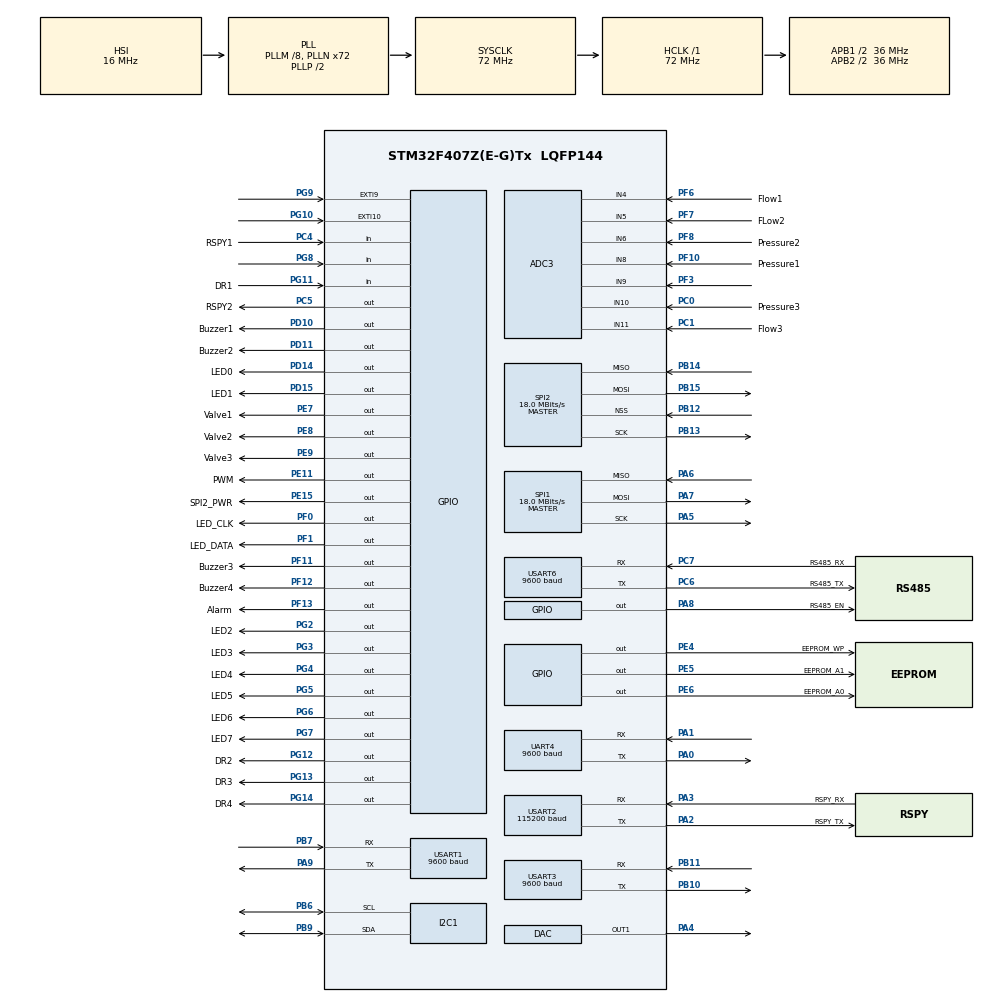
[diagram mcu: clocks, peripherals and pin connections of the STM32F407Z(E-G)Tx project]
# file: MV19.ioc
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ADC3.Channel-7\#ChannelRegularConversion=ADC_CHANNEL_4
ADC3.ClockPrescaler=ADC_CLOCK_SYNC_PCLK_DIV8
ADC3.ContinuousConvMode=DISABLE
ADC3.InjNumberOfConversion=0
ADC3.NbrOfConversionFlag=1
ADC3.Rank-7\#ChannelRegularConversion=1
ADC3.SamplingTime-7\#ChannelRegularConversion=ADC_SAMPLETIME_3CYCLES
ADC3.ScanConvMode=DISABLE
Mcu.Family=STM32F4
Mcu.Name=STM32F407Z(E-G)Tx
Mcu.Package=LQFP144
NVIC.EXTI15_10_IRQn=true\:1\:0\:true\:false\:true\:true\:true
NVIC.EXTI9_5_IRQn=true\:1\:0\:true\:false\:true\:true\:true
NVIC.PriorityGroup=NVIC_PRIORITYGROUP_4
NVIC.TIM1_UP_TIM10_IRQn=true\:1\:0\:true\:false\:true\:true\:true
NVIC.TIM2_IRQn=true\:1\:0\:true\:false\:true\:true\:true
NVIC.TIM3_IRQn=true\:1\:0\:true\:false\:true\:true\:true
NVIC.TIM4_IRQn=true\:1\:0\:true\:false\:true\:true\:true
NVIC.TIM8_BRK_TIM12_IRQn=true\:1\:0\:true\:false\:true\:true\:true
NVIC.USART2_IRQn=true\:0\:0\:false\:false\:true\:true\:true
PA0-WKUP.Mode=Asynchronous
PA0-WKUP.Signal=UART4_TX
PA1.Mode=Asynchronous
PA1.Signal=UART4_RX
PA13.Mode=JTAG_4_pins
PA13.Signal=SYS_JTMS-SWDIO
PA14.Mode=JTAG_4_pins
PA14.Signal=SYS_JTCK-SWCLK
PA15.Mode=JTAG_4_pins
PA15.Signal=SYS_JTDI
PA2.GPIO_Label=RSPY_TX
PA2.Mode=Asynchronous
PA2.Signal=USART2_TX
PA3.GPIO_Label=RSPY_RX
PA3.Mode=Asynchronous
PA3.Signal=USART2_RX
PA4.Signal=COMP_DAC1_group
PA5.Mode=Full_Duplex_Master
PA5.Signal=SPI1_SCK
PA6.Mode=Full_Duplex_Master
PA6.Signal=SPI1_MISO
PA7.Mode=Full_Duplex_Master
PA7.Signal=SPI1_MOSI
PA8.GPIO_Label=RS485_EN
PA8.Signal=GPIO_Output
PA9.Mode=Asynchronous
PA9.Signal=USART1_TX
PB10.Mode=Asynchronous
PB10.Signal=USART3_TX
PB11.Mode=Asynchronous
PB11.Signal=USART3_RX
PB12.Mode=NSS_Signal_Hard_Input
PB12.Signal=SPI2_NSS
PB13.Mode=Full_Duplex_Master
PB13.Signal=SPI2_SCK
PB14.Mode=Full_Duplex_Master
PB14.Signal=SPI2_MISO
PB15.Mode=Full_Duplex_Master
PB15.Signal=SPI2_MOSI
PB3.Mode=JTAG_4_pins
PB3.Signal=SYS_JTDO-SWO
PB6.Mode=I2C
PB6.Signal=I2C1_SCL
PB7.Mode=Asynchronous
PB7.Signal=USART1_RX
PB9.Mode=I2C
PB9.Signal=I2C1_SDA
PC0.GPIO_Label=Pressure3
PC0.Signal=ADCx_IN10
PC1.GPIO_Label=Flow3
PC1.Signal=ADCx_IN11
PC4.GPIO_Label=RSPY1
PC4.Signal=GPIO_Input
PC5.GPIO_Label=RSPY2
PC5.Signal=GPIO_Output
PC6.GPIO_Label=RS485_TX
PC6.Mode=Asynchronous
PC6.Signal=USART6_TX
PC7.GPIO_Label=RS485_RX
PC7.Mode=Asynchronous
PC7.Signal=USART6_RX
PD10.GPIO_Label=Buzzer1
PD10.Signal=GPIO_Output
PD11.GPIO_Label=Buzzer2
PD11.Signal=GPIO_Output
PD14.GPIO_Label=LED0
PD14.Signal=GPIO_Output
PD15.GPIO_Label=LED1
PD15.Signal=GPIO_Output
PE11.GPIO_Label=PWM
PE11.Signal=GPIO_Output
PE15.GPIO_Label=SPI2_PWR
PE15.Signal=GPIO_Output
PE4.GPIO_Label=EEPROM_WP
PE4.Signal=GPIO_Output
PE5.GPIO_Label=EEPROM_A1
PE5.Signal=GPIO_Output
PE6.GPIO_Label=EEPROM_A0
PE6.Signal=GPIO_Output
PE7.GPIO_Label=Valve1
PE7.Signal=GPIO_Output
PE8.GPIO_Label=Valve2
PE8.Signal=GPIO_Output
PE9.GPIO_Label=Valve3
PE9.Signal=GPIO_Output
PF0.GPIO_Label=LED_CLK
PF0.Signal=GPIO_Output
PF1.GPIO_Label=LED_DATA
PF1.Signal=GPIO_Output
PF10.GPIO_Label=Pressure1
PF10.Mode=IN8
PF10.Signal=ADC3_IN8
PF11.GPIO_Label=Buzzer3
PF11.Signal=GPIO_Output
PF12.GPIO_Label=Buzzer4
PF12.Signal=GPIO_Output
PF13.GPIO_Label=Alarm
PF13.Signal=GPIO_Output
PF3.Mode=IN9
PF3.Signal=ADC3_IN9
PF6.GPIO_Label=Flow1
PF6.Mode=IN4
PF6.Signal=ADC3_IN4
PF7.GPIO_Label=FLow2
PF7.Mode=IN5
PF7.Signal=ADC3_IN5
PF8.GPIO_Label=Pressure2
PF8.Mode=IN6
PF8.Signal=ADC3_IN6
PG10.GPIO_ModeDefaultEXTI=GPIO_MODE_IT_RISING
PG10.Signal=GPXTI10
PG11.GPIO_Label=DR1
PG11.Signal=GPIO_Input
PG12.GPIO_Label=DR2
PG12.Signal=GPIO_Output
PG13.GPIO_Label=DR3
PG13.GPIO_ModeDefaultOutputPP=GPIO_MODE_OUTPUT_PP
PG13.GPIO_PuPd=GPIO_PULLUP
PG13.GPIO_Speed=GPIO_SPEED_FREQ_VERY_HIGH
PG13.Signal=GPIO_Output
PG14.GPIO_Label=DR4
PG14.GPIO_PuPd=GPIO_PULLUP
PG14.Signal=GPIO_Output
PG2.GPIO_Label=LED2
PG2.Signal=GPIO_Output
PG3.GPIO_Label=LED3
PG3.Signal=GPIO_Output
PG4.GPIO_Label=LED4
PG4.Signal=GPIO_Output
PG5.GPIO_Label=LED5
PG5.Signal=GPIO_Output
PG6.GPIO_Label=LED6
PG6.Signal=GPIO_Output
PG7.GPIO_Label=LED7
PG7.Signal=GPIO_Output
PG8.Signal=GPIO_Input
PG9.GPIO_ModeDefaultEXTI=GPIO_MODE_IT_FALLING
PG9.GPIO_PuPd=GPIO_NOPULL
PG9.Signal=GPXTI9
ProjectManager.HeapSize=0x200
ProjectManager.StackSize=0x400
ProjectManager.TargetToolchain=MDK-ARM V5.27
RCC.48MHZClocksFreq_Value=48000000
RCC.AHBFreq_Value=72000000
RCC.APB1CLKDivider=RCC_HCLK_DIV2
RCC.APB1Freq_Value=36000000
RCC.APB1TimFreq_Value=72000000
RCC.APB2CLKDivider=RCC_HCLK_DIV2
RCC.APB2Freq_Value=36000000
RCC.APB2TimFreq_Value=72000000
RCC.CortexFreq_Value=72000000
RCC.HCLKFreq_Value=72000000
RCC.HSE_VALUE=8000000
RCC.HSI_VALUE=16000000
RCC.LSE_VALUE=32768
RCC.PLLM=8
RCC.PLLN=72
RCC.PLLQ=3
RCC.SYSCLKFreq_VALUE=72000000
RCC.SYSCLKSource=RCC_SYSCLKSOURCE_PLLCLK
RCC.VCOOutputFreq_Value=144000000
SH.ADCx_IN10.0=ADC3_IN10,IN10
SH.ADCx_IN11.0=ADC3_IN11,IN11
SH.COMP_DAC1_group.0=DAC_OUT1,DAC_OUT1
SPI1.CalculateBaudRate=18.0 MBits/s
SPI1.Direction=SPI_DIRECTION_2LINES
SPI1.Mode=SPI_MODE_MASTER
SPI1.VirtualType=VM_MASTER
SPI2.CalculateBaudRate=18.0 MBits/s
SPI2.Direction=SPI_DIRECTION_2LINES
SPI2.Mode=SPI_MODE_MASTER
SPI2.VirtualNSS=VM_NSSHARD
SPI2.VirtualType=VM_MASTER
TIM1.AutoReloadPreload=TIM_AUTORELOAD_PRELOAD_DISABLE
TIM1.Period=50
TIM1.Prescaler=400
TIM1.TIM_MasterOutputTrigger=TIM_TRGO_UPDATE
TIM12.Period=1000
TIM12.Prescaler=7200
TIM2.Period=100
TIM2.Prescaler=7135
TIM2.TIM_MasterOutputTrigger=TIM_TRGO_UPDATE
TIM3.Period=100
TIM3.Prescaler=7135
TIM3.TIM_MasterOutputTrigger=TIM_TRGO_UPDATE
TIM4.Period=10
TIM4.Prescaler=7200
TIM4.TIM_MasterOutputTrigger=TIM_TRGO_UPDATE
UART4.BaudRate=9600
UART4.VirtualMode=Asynchronous
USART1.BaudRate=9600
USART1.VirtualMode=VM_ASYNC
USART2.BaudRate=115200
USART2.VirtualMode=VM_ASYNC
USART3.BaudRate=9600
USART3.VirtualMode=VM_ASYNC
USART6.BaudRate=9600
USART6.VirtualMode=VM_ASYNC
VP_TIM12_VS_ClockSourceINT.Mode=Internal
VP_TIM1_VS_ClockSourceINT.Mode=Internal
VP_TIM2_VS_ClockSourceINT.Mode=Internal
VP_TIM3_VS_ClockSourceINT.Mode=Internal
VP_TIM4_VS_ClockSourceINT.Mode=Internal
board=custom

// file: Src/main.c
/* USER CODE BEGIN Header */
/**
  ******************************************************************************
  * @file           : main.c
  * @brief          : Main program body
  ******************************************************************************
  * @attention
  *
  * <h2><center>&copy; Copyright (c) 2020 STMicroelectronics.
  * All rights reserved.</center></h2>
  *
  * This software component is licensed by ST under BSD 3-Clause license,
  * the "License"; You may not use this file except in compliance with the
  * License. You may obtain a copy of the License at:
  *                        opensource.org/licenses/BSD-3-Clause
  *
  ******************************************************************************
  */
  /* USER CODE END Header */

  /* Includes ------------------------------------------------------------------*/
#include "main.h"

/* USER CODE BEGIN Includes */
#include <string.h>
#include <stdbool.h>
#include <stdio.h>
#include "show_alarms.h"

/* USER CODE END Includes */

/* USER CODE BEGIN PD */

#define MAX_BUFFER_SIZE 500

const unsigned  int CrcTable[] = {
  0X0000, 0XC0C1, 0XC181, 0X0140, 0XC301, 0X03C0, 0X0280, 0XC241,
  0XC601, 0X06C0, 0X0780, 0XC741, 0X0500, 0XC5C1, 0XC481, 0X0440,
  0XCC01, 0X0CC0, 0X0D80, 0XCD41, 0X0F00, 0XCFC1, 0XCE81, 0X0E40,
  0X0A00, 0XCAC1, 0XCB81, 0X0B40, 0XC901, 0X09C0, 0X0880, 0XC841,
  0XD801, 0X18C0, 0X1980, 0XD941, 0X1B00, 0XDBC1, 0XDA81, 0X1A40,
  0X1E00, 0XDEC1, 0XDF81, 0X1F40, 0XDD01, 0X1DC0, 0X1C80, 0XDC41,
  0X1400, 0XD4C1, 0XD581, 0X1540, 0XD701, 0X17C0, 0X1680, 0XD641,
  0XD201, 0X12C0, 0X1380, 0XD341, 0X1100, 0XD1C1, 0XD081, 0X1040,
  0XF001, 0X30C0, 0X3180, 0XF141, 0X3300, 0XF3C1, 0XF281, 0X3240,
  0X3600, 0XF6C1, 0XF781, 0X3740, 0XF501, 0X35C0, 0X3480, 0XF441,
  0X3C00, 0XFCC1, 0XFD81, 0X3D40, 0XFF01, 0X3FC0, 0X3E80, 0XFE41,
  0XFA01, 0X3AC0, 0X3B80, 0XFB41, 0X3900, 0XF9C1, 0XF881, 0X3840,
  0X2800, 0XE8C1, 0XE981, 0X2940, 0XEB01, 0X2BC0, 0X2A80, 0XEA41,
  0XEE01, 0X2EC0, 0X2F80, 0XEF41, 0X2D00, 0XEDC1, 0XEC81, 0X2C40,
  0XE401, 0X24C0, 0X2580, 0XE541, 0X2700, 0XE7C1, 0XE681, 0X2640,
  0X2200, 0XE2C1, 0XE381, 0X2340, 0XE101, 0X21C0, 0X2080, 0XE041,
  0XA001, 0X60C0, 0X6180, 0XA141, 0X6300, 0XA3C1, 0XA281, 0X6240,
  0X6600, 0XA6C1, 0XA781, 0X6740, 0XA501, 0X65C0, 0X6480, 0XA441,
  0X6C00, 0XACC1, 0XAD81, 0X6D40, 0XAF01, 0X6FC0, 0X6E80, 0XAE41,
  0XAA01, 0X6AC0, 0X6B80, 0XAB41, 0X6900, 0XA9C1, 0XA881, 0X6840,
  0X7800, 0XB8C1, 0XB981, 0X7940, 0XBB01, 0X7BC0, 0X7A80, 0XBA41,
  0XBE01, 0X7EC0, 0X7F80, 0XBF41, 0X7D00, 0XBDC1, 0XBC81, 0X7C40,
  0XB401, 0X74C0, 0X7580, 0XB541, 0X7700, 0XB7C1, 0XB681, 0X7640,
  0X7200, 0XB2C1, 0XB381, 0X7340, 0XB101, 0X71C0, 0X7080, 0XB041,
  0X5000, 0X90C1, 0X9181, 0X5140, 0X9301, 0X53C0, 0X5280, 0X9241,
  0X9601, 0X56C0, 0X5780, 0X9741, 0X5500, 0X95C1, 0X9481, 0X5440,
  0X9C01, 0X5CC0, 0X5D80, 0X9D41, 0X5F00, 0X9FC1, 0X9E81, 0X5E40,
  0X5A00, 0X9AC1, 0X9B81, 0X5B40, 0X9901, 0X59C0, 0X5880, 0X9841,
  0X8801, 0X48C0, 0X4980, 0X8941, 0X4B00, 0X8BC1, 0X8A81, 0X4A40,
  0X4E00, 0X8EC1, 0X8F81, 0X4F40, 0X8D01, 0X4DC0, 0X4C80, 0X8C41,
  0X4400, 0X84C1, 0X8581, 0X4540, 0X8701, 0X47C0, 0X4680, 0X8641,
  0X8201, 0X42C0, 0X4380, 0X8341, 0X4100, 0X81C1, 0X8081, 0X4040
};

//int t=500,t1=350,s1=20,s2=40,tf=0,e=100,tm2=0;

/* USER CODE END PD */

ADC_HandleTypeDef hadc3;

DAC_HandleTypeDef hdac;

I2C_HandleTypeDef hi2c1;

SPI_HandleTypeDef hspi1;
SPI_HandleTypeDef hspi2;

TIM_HandleTypeDef htim1;
TIM_HandleTypeDef htim2;
TIM_HandleTypeDef htim3;
TIM_HandleTypeDef htim4;
TIM_HandleTypeDef htim12;

UART_HandleTypeDef huart4;
UART_HandleTypeDef huart1;
UART_HandleTypeDef huart2;
UART_HandleTypeDef huart3;
UART_HandleTypeDef huart6;

/* USER CODE BEGIN PV */

uint8_t rspy_receive_buffer[MAX_BUFFER_SIZE];
//bool packet_received = false;
extern bool data_received_from_raspy;
int packet_received = 0;
int rspy_receive_buffer_index = 0;
bool send_complete = true, paceket_decoded = false;
extern modes CURRENT_MODE;
extern int Current_Pressure_Ins, Current_Pressure_Exp, Current_Flow_Ins, Current_Flow_Exp;
extern float Current_P_Triger;
extern int LED_POWER1, LED_POWER2, LED_BATTRY_Red, LED_BATTRY_Green, LED_Apnea, LED_ALARM_Hi, LED_ALARM_Low, LED_STANDBY1, LED_STANDBY2, LED_ACV1, LED_ACV2, LED_ACP, LED_SIMV, LED_PSV;
extern int sent_ALARM_Hi_code, sent_ALARM_Low_code;
bool no_alarm_sent = false;

extern int turbo_speed_Ins, turbo_speed_Exp, turbo_speed, is_inspiratory, raise_step;
extern int pwm_i_acp, pwm_e_pcv, ACP_RATE;
extern int pwm_i_simv, pwm_e_simv, SIMV_RATE_SIMV;
extern char buf[1000];
char buf2[10];
uint8_t rspy_receive_buffer_Data[1000];
extern bool Config_request;
extern int duration_Ins, duration_Exp;
extern int t3_counter;
extern bool PSV_MODE_STEP;
extern bool PSV_MODE_INS;
extern bool ALARM_Hi, ALARM_Low;

extern bool turbo_error, pressure_s1_error, pressure_s2_error, flow_s_error, buzzer_error;
extern bool flow_s1_error, flow_s2_error;

extern bool ALARM_RECEIVED;
extern int ALARM_CODE;
extern bool sigh_occured;
extern int sigh_counter;

extern int cnt_temp;
extern int is_trigger_simv;
extern int32_t ACV_Vt_Sens, ACP_Vt_Sens, SIMV_Vt_Sens, PSV_Vt_Sens;

extern int Pressure_Report, Flow_Report, Voloume_Report, PasOxi_Report, O2_Report;
extern bool send_report;
extern uint8_t report_response_packet[156];
extern int report_response_packet_index;
extern int packet_index;
int loop_indx = 0;
uint8_t dt[141];

int max_flow1 = 0, max_flow2 = 0;

HAL_StatusTypeDef uart_status;

extern int32_t ACV_Vt_Sens_Ins, ACV_Vt_Sens_Exp;

uint16_t rx_rd_index, rx_wr_index;
volatile uint16_t rx_counter;
volatile uint8_t rx_overflow;
bool receiving = false;

/* USER CODE END PV */

void SystemClock_Config(void);
static void MX_GPIO_Init(void);
static void MX_ADC3_Init(void);
static void MX_DAC_Init(void);
static void MX_SPI1_Init(void);
static void MX_SPI2_Init(void);
static void MX_UART4_Init(void);
static void MX_USART1_UART_Init(void);
static void MX_USART2_UART_Init(void);
static void MX_USART3_UART_Init(void);
static void MX_USART6_UART_Init(void);
static void MX_I2C1_Init(void);
static void MX_TIM1_Init(void);
static void MX_TIM2_Init(void);
static void MX_TIM3_Init(void);
static void MX_TIM4_Init(void);
static void MX_TIM12_Init(void);

int main(void)
{

	/* MCU Configuration--------------------------------------------------------*/

	/* Reset of all peripherals, Initializes the Flash interface and the Systick. */
	HAL_Init();

	/* Configure the system clock */
	SystemClock_Config();

	/* Initialize all configured peripherals */
	MX_GPIO_Init();
	MX_ADC3_Init();
	MX_DAC_Init();
	MX_SPI1_Init();
	MX_SPI2_Init();
	MX_UART4_Init();
	MX_USART1_UART_Init();
	MX_USART2_UART_Init();
	MX_USART3_UART_Init();
	MX_USART6_UART_Init();
	MX_I2C1_Init();
	MX_TIM1_Init();
	MX_TIM2_Init();
	MX_TIM3_Init();
	MX_TIM4_Init();
	MX_TIM12_Init();

	/* Infinite loop */
	/* USER CODE BEGIN WHILE */

	  //HAL_UART_Receive_IT(&huart2, &rx_buffer2, 1);

	  // int cnt=0;

	driver_init();
	HAL_Delay(200);
	check_devices();

	HAL_TIM_Base_Start_IT(&htim4);

	status(LED_POWER1, 1);  //POWER LED
	status(LED_POWER2, 1);  //POWER LED

	status(LED_STANDBY1, 1);  //Mode led STANDBY on
	status(LED_STANDBY2, 1);  //Mode led STANDBY on

	status(LED_BATTRY_Red, 1);  //POWER Battry
	//status(LED_BATTRY_Green, 1);  //POWER Battry

	__HAL_UART_ENABLE_IT(&huart2, UART_IT_RXNE);

	while (1)
	{

		if (packet_received == 1)
		{

			paceket_decoded = false;
			HAL_GPIO_WritePin(LED2_GPIO_Port, LED2_Pin, GPIO_PIN_SET);

			decode_raspi_packet();

			data_received_from_raspy = false;

			rspy_receive_buffer_index = 0;
			//HAL_Delay(500);
			packet_received = 0;

		}
		else
		{
			if (paceket_decoded)
			{

				if (Config_request)
				{
					create_response_for_raspberry(5, 0);
					Config_request = false;
				}

				if (CURRENT_MODE > 1)
				{
					if (send_report)
					{

						//						 if(max_flow1<=ACV_Vt_Sens_Ins)
						//				        max_flow1=ACV_Vt_Sens_Ins;
						//						if(Voloume_Report!= max_flow1)
						//						{

						//							create_report_for_raspberry(20,Pressure_Report,Flow_Report,max_flow1,PasOxi_Report,O2_Report);
						//					  }
						//						else
											// create_report_for_raspberry(20,Pressure_Report,Flow_Report,Voloume_Report,PasOxi_Report,O2_Report);

						report_response_packet[0] = 0xFE;
						report_response_packet[1] = 0x8D;  // len  141=0x8D   10*14=140 + Function_id = 141
						report_response_packet[2] = packet_index++;    //packect Index
						report_response_packet[3] = 0x14;    //function_id;  20 = 0x14
						if (packet_index > 50000)
							packet_index = 1;
						// START Calculate CRC
						for (loop_indx = 0; loop_indx < 141; loop_indx++)
						{
							dt[loop_indx] = report_response_packet[3 + loop_indx];
						}
						uint16_t resp_crc = crc_calc(dt, report_response_packet[1]);
						if (resp_crc <= 256)
						{
							report_response_packet[144] = 0x00;
							report_response_packet[145] = resp_crc;
						}
						else
						{
							report_response_packet[144] = (int)resp_crc / 256;
							report_response_packet[145] = resp_crc % 256;
						}
						// END Calculate CRC
						report_response_packet[146] = 0xFF;
						report_response_packet[147] = 0x0A;

						send_rspy(report_response_packet, 148);

						//						buf[0] = 0;
						//
						//						for(int i=0; i<148; i++){
						//							sprintf(buf2,"%02d ",report_response_packet[i]);//,length(report_response_packet));
						//							strcat(buf, buf2);
						//						}
						//
						//		        print_debug((uint8_t *)buf, strlen(buf));
						//
						//						sprintf(buf,"\r\n\r\n");
						//						print_debug((uint8_t *)buf, strlen(buf));

						report_response_packet_index = 0;
						send_report = false;

						//	sprintf(buf, "\f  Voloume_Report=%d ,  MAX ACV_Vt_Sens_Ins=%d  ",Voloume_Report, max_flow1);
								//HAL_UART_Receive_IT(&huart2, &rx_buffer2, 1);
					}
					else
					{
						//while(HAL_UART_Receive(&huart2, &c, 1, 5) == HAL_UART_ERROR_NONE);
					}
				}

				if (ALARM_RECEIVED)
				{
					if (ALARM_Hi == true)
					{
						if (sent_ALARM_Hi_code == 0)
						{
							buzzer(2, 1);
							status(LED_ALARM_Hi, 1);  //  ALARM Hi LED On
							status(LED_ALARM_Low, 0);  //  ALARM Low LED OFF
							ALARM_RECEIVED = false;

							sent_ALARM_Hi_code = ALARM_CODE;
							create_response_for_raspberry(111, ALARM_CODE);
							no_alarm_sent = false;
						}
					}
					else
					{
						if (ALARM_Low == true)
						{
							if (sent_ALARM_Low_code == 0)
							{
								buzzer(2, 1);
								status(LED_ALARM_Hi, 0);  //  ALARM Hi LED OFF
								status(LED_ALARM_Low, 1);  //  ALARM Low LED on
								ALARM_RECEIVED = false;

								sent_ALARM_Low_code = ALARM_CODE;
								create_response_for_raspberry(111, ALARM_CODE);
								no_alarm_sent = false;
							}

						}
					}
				}
				else  // NO ALARM
				{

					if (no_alarm_sent == false)
					{
					  buzzer(2, 0);
					  status(LED_ALARM_Hi, 0);
					  status(LED_ALARM_Low, 0);

					  ALARM_RECEIVED = false;
					  sent_ALARM_Hi_code = 0;
					  sent_ALARM_Low_code = 0;

						create_response_for_raspberry(111, 0);
						no_alarm_sent = true;
					}

				}
			}

			HAL_GPIO_TogglePin(LED0_GPIO_Port, LED0_Pin);

//			if (max_flow1 <= Current_Pressure_Ins)
//				max_flow1 = Current_Pressure_Ins;

//			if (max_flow2 <= Current_Pressure_Exp)
//				max_flow2 = Current_Pressure_Exp;

			//		sprintf(buf, "\f  F-ins=%d , F-exp=%d  , MAX ACV_Vt_Sens_Ins=%d    , MAX ACV_Vt_Sens_Exp=%d  , E-I=%d  ",Current_Flow_Ins,Current_Flow_Exp, max_flow1,max_flow2,(max_flow2-max_flow1));

					//__HAL_UART_DISABLE_IT(&huart2, UART_IT_RXNE);
					 sprintf(buf, "\f cnt=%d , pd=%d, indx=%d, T=%d , Ins=%d , Exp=%d , t_spd_I=%d , t_spd_E=%d  ,t_spd=%d , M=%d - is_I=%d , P-ins=%d , P-exp=%d  pi-pe=%d ,P-Trriger= %4.2f, F-ins=%d , F-exp=%d , MAX Current_Pressure_Ins=%d    , MAX Current_Pressure_Exp=%d   , ACV_Vt_Sens=%d           ", cnt_temp,(int)paceket_decoded,rspy_receive_buffer_index,is_trigger_simv,duration_Ins,duration_Exp,turbo_speed_Ins,turbo_speed_Exp, turbo_speed,(int)CURRENT_MODE,is_inspiratory,Current_Pressure_Ins,Current_Pressure_Exp,Current_Pressure_Ins-Current_Pressure_Exp,Current_P_Triger,Current_Flow_Ins,Current_Flow_Exp, max_flow1,max_flow2,ACV_Vt_Sens);
						//sprintf(buf, "\f status= %X", HAL_UART_GetState(&huart2));
						//sprintf(buf, "status= %X - %X\r\n", uart_status, HAL_UART_GetState(&huart2));
				//	 sprintf(buf,"\f cnt=%d , array=%d",cnt_temp,0);//,length(report_response_packet));
				   print_debug((uint8_t *)buf, strlen(buf));
					//__HAL_UART_ENABLE_IT(&huart2, UART_IT_RXNE);

					//HAL_UART_Transmit(&huart1,(uint8_t *) buf, 200, 20 );
					HAL_Delay(200);
		}

	}
	/* USER CODE END WHILE */

}

void SystemClock_Config(void)
{
	RCC_OscInitTypeDef RCC_OscInitStruct = { 0 };
	RCC_ClkInitTypeDef RCC_ClkInitStruct = { 0 };

	/** Configure the main internal regulator output voltage
	*/
	__HAL_RCC_PWR_CLK_ENABLE();
	__HAL_PWR_VOLTAGESCALING_CONFIG(PWR_REGULATOR_VOLTAGE_SCALE1);
	/** Initializes the CPU, AHB and APB busses clocks
	*/
	RCC_OscInitStruct.OscillatorType = RCC_OSCILLATORTYPE_HSI;
	RCC_OscInitStruct.HSIState = RCC_HSI_ON;
	RCC_OscInitStruct.HSICalibrationValue = RCC_HSICALIBRATION_DEFAULT;
	RCC_OscInitStruct.PLL.PLLState = RCC_PLL_ON;
	RCC_OscInitStruct.PLL.PLLSource = RCC_PLLSOURCE_HSI;
	RCC_OscInitStruct.PLL.PLLM = 8;
	RCC_OscInitStruct.PLL.PLLN = 72;
	RCC_OscInitStruct.PLL.PLLP = RCC_PLLP_DIV2;
	RCC_OscInitStruct.PLL.PLLQ = 3;
	if (HAL_RCC_OscConfig(&RCC_OscInitStruct) != HAL_OK)
	{
		Error_Handler();
	}
	/** Initializes the CPU, AHB and APB busses clocks
	*/
	RCC_ClkInitStruct.ClockType = RCC_CLOCKTYPE_HCLK | RCC_CLOCKTYPE_SYSCLK
		| RCC_CLOCKTYPE_PCLK1 | RCC_CLOCKTYPE_PCLK2;
	RCC_ClkInitStruct.SYSCLKSource = RCC_SYSCLKSOURCE_PLLCLK;
	RCC_ClkInitStruct.AHBCLKDivider = RCC_SYSCLK_DIV1;
	RCC_ClkInitStruct.APB1CLKDivider = RCC_HCLK_DIV2;
	RCC_ClkInitStruct.APB2CLKDivider = RCC_HCLK_DIV2;

	if (HAL_RCC_ClockConfig(&RCC_ClkInitStruct, FLASH_LATENCY_2) != HAL_OK)
	{
		Error_Handler();
	}
}

static void MX_ADC3_Init(void)
{

	ADC_ChannelConfTypeDef sConfig = { 0 };

	/** Configure the global features of the ADC (Clock, Resolution, Data Alignment and number of conversion)
	*/
	hadc3.Instance = ADC3;
	hadc3.Init.ClockPrescaler = ADC_CLOCK_SYNC_PCLK_DIV8;
	hadc3.Init.Resolution = ADC_RESOLUTION_12B;
	hadc3.Init.ScanConvMode = DISABLE;
	hadc3.Init.ContinuousConvMode = DISABLE;
	hadc3.Init.DiscontinuousConvMode = DISABLE;
	hadc3.Init.ExternalTrigConvEdge = ADC_EXTERNALTRIGCONVEDGE_NONE;
	hadc3.Init.ExternalTrigConv = ADC_SOFTWARE_START;
	hadc3.Init.DataAlign = ADC_DATAALIGN_RIGHT;
	hadc3.Init.NbrOfConversion = 1;
	hadc3.Init.DMAContinuousRequests = DISABLE;
	hadc3.Init.EOCSelection = ADC_EOC_SINGLE_CONV;
	if (HAL_ADC_Init(&hadc3) != HAL_OK)
	{
		Error_Handler();
	}
	/** Configure for the selected ADC regular channel its corresponding rank in the sequencer and its sample time.
	*/
	sConfig.Channel = ADC_CHANNEL_4;
	sConfig.Rank = 1;
	sConfig.SamplingTime = ADC_SAMPLETIME_3CYCLES;
	if (HAL_ADC_ConfigChannel(&hadc3, &sConfig) != HAL_OK)
	{
		Error_Handler();
	}

}

static void MX_DAC_Init(void)
{

	DAC_ChannelConfTypeDef sConfig = { 0 };

	/** DAC Initialization
	*/
	hdac.Instance = DAC;
	if (HAL_DAC_Init(&hdac) != HAL_OK)
	{
		Error_Handler();
	}
	/** DAC channel OUT1 config
	*/
	sConfig.DAC_Trigger = DAC_TRIGGER_NONE;
	sConfig.DAC_OutputBuffer = DAC_OUTPUTBUFFER_ENABLE;
	if (HAL_DAC_ConfigChannel(&hdac, &sConfig, DAC_CHANNEL_1) != HAL_OK)
	{
		Error_Handler();
	}

}

static void MX_I2C1_Init(void)
{

	hi2c1.Instance = I2C1;
	hi2c1.Init.ClockSpeed = 100000;
	hi2c1.Init.DutyCycle = I2C_DUTYCYCLE_2;
	hi2c1.Init.OwnAddress1 = 0;
	hi2c1.Init.AddressingMode = I2C_ADDRESSINGMODE_7BIT;
	hi2c1.Init.DualAddressMode = I2C_DUALADDRESS_DISABLE;
	hi2c1.Init.OwnAddress2 = 0;
	hi2c1.Init.GeneralCallMode = I2C_GENERALCALL_DISABLE;
	hi2c1.Init.NoStretchMode = I2C_NOSTRETCH_DISABLE;
	if (HAL_I2C_Init(&hi2c1) != HAL_OK)
	{
		Error_Handler();
	}

}

static void MX_SPI1_Init(void)
{

	/* SPI1 parameter configuration*/
	hspi1.Instance = SPI1;
	hspi1.Init.Mode = SPI_MODE_MASTER;
	hspi1.Init.Direction = SPI_DIRECTION_2LINES;
	hspi1.Init.DataSize = SPI_DATASIZE_8BIT;
	hspi1.Init.CLKPolarity = SPI_POLARITY_LOW;
	hspi1.Init.CLKPhase = SPI_PHASE_1EDGE;
	hspi1.Init.NSS = SPI_NSS_SOFT;
	hspi1.Init.BaudRatePrescaler = SPI_BAUDRATEPRESCALER_2;
	hspi1.Init.FirstBit = SPI_FIRSTBIT_MSB;
	hspi1.Init.TIMode = SPI_TIMODE_DISABLE;
	hspi1.Init.CRCCalculation = SPI_CRCCALCULATION_DISABLE;
	hspi1.Init.CRCPolynomial = 10;
	if (HAL_SPI_Init(&hspi1) != HAL_OK)
	{
		Error_Handler();
	}

}

static void MX_SPI2_Init(void)
{

	/* SPI2 parameter configuration*/
	hspi2.Instance = SPI2;
	hspi2.Init.Mode = SPI_MODE_MASTER;
	hspi2.Init.Direction = SPI_DIRECTION_2LINES;
	hspi2.Init.DataSize = SPI_DATASIZE_8BIT;
	hspi2.Init.CLKPolarity = SPI_POLARITY_LOW;
	hspi2.Init.CLKPhase = SPI_PHASE_1EDGE;
	hspi2.Init.NSS = SPI_NSS_HARD_INPUT;
	hspi2.Init.BaudRatePrescaler = SPI_BAUDRATEPRESCALER_2;
	hspi2.Init.FirstBit = SPI_FIRSTBIT_MSB;
	hspi2.Init.TIMode = SPI_TIMODE_DISABLE;
	hspi2.Init.CRCCalculation = SPI_CRCCALCULATION_DISABLE;
	hspi2.Init.CRCPolynomial = 10;
	if (HAL_SPI_Init(&hspi2) != HAL_OK)
	{
		Error_Handler();
	}

}

static void MX_TIM1_Init(void)
{

	TIM_ClockConfigTypeDef sClockSourceConfig = { 0 };
	TIM_MasterConfigTypeDef sMasterConfig = { 0 };

	htim1.Instance = TIM1;
	htim1.Init.Prescaler = 400;
	htim1.Init.CounterMode = TIM_COUNTERMODE_UP;
	htim1.Init.Period = 100;
	htim1.Init.ClockDivision = TIM_CLOCKDIVISION_DIV1;
	htim1.Init.RepetitionCounter = 0;
	htim1.Init.AutoReloadPreload = TIM_AUTORELOAD_PRELOAD_DISABLE;
	if (HAL_TIM_Base_Init(&htim1) != HAL_OK)
	{
		Error_Handler();
	}
	sClockSourceConfig.ClockSource = TIM_CLOCKSOURCE_INTERNAL;
	if (HAL_TIM_ConfigClockSource(&htim1, &sClockSourceConfig) != HAL_OK)
	{
		Error_Handler();
	}
	sMasterConfig.MasterOutputTrigger = TIM_TRGO_UPDATE;
	sMasterConfig.MasterSlaveMode = TIM_MASTERSLAVEMODE_DISABLE;
	if (HAL_TIMEx_MasterConfigSynchronization(&htim1, &sMasterConfig) != HAL_OK)
	{
		Error_Handler();
	}

}

static void MX_TIM2_Init(void)
{

	TIM_ClockConfigTypeDef sClockSourceConfig = { 0 };
	TIM_MasterConfigTypeDef sMasterConfig = { 0 };

	htim2.Instance = TIM2;
	htim2.Init.Prescaler = 7135;
	htim2.Init.CounterMode = TIM_COUNTERMODE_UP;
	htim2.Init.Period = 100;
	htim2.Init.ClockDivision = TIM_CLOCKDIVISION_DIV1;
	htim2.Init.AutoReloadPreload = TIM_AUTORELOAD_PRELOAD_DISABLE;
	if (HAL_TIM_Base_Init(&htim2) != HAL_OK)
	{
		Error_Handler();
	}
	sClockSourceConfig.ClockSource = TIM_CLOCKSOURCE_INTERNAL;
	if (HAL_TIM_ConfigClockSource(&htim2, &sClockSourceConfig) != HAL_OK)
	{
		Error_Handler();
	}
	sMasterConfig.MasterOutputTrigger = TIM_TRGO_UPDATE;
	sMasterConfig.MasterSlaveMode = TIM_MASTERSLAVEMODE_DISABLE;
	if (HAL_TIMEx_MasterConfigSynchronization(&htim2, &sMasterConfig) != HAL_OK)
	{
		Error_Handler();
	}

}

static void MX_TIM3_Init(void)
{

	TIM_ClockConfigTypeDef sClockSourceConfig = { 0 };
	TIM_MasterConfigTypeDef sMasterConfig = { 0 };

	htim3.Instance = TIM3;
	htim3.Init.Prescaler = 7135;
	htim3.Init.CounterMode = TIM_COUNTERMODE_UP;
	htim3.Init.Period = 100;
	htim3.Init.ClockDivision = TIM_CLOCKDIVISION_DIV1;
	htim3.Init.AutoReloadPreload = TIM_AUTORELOAD_PRELOAD_DISABLE;
	if (HAL_TIM_Base_Init(&htim3) != HAL_OK)
	{
		Error_Handler();
	}
	sClockSourceConfig.ClockSource = TIM_CLOCKSOURCE_INTERNAL;
	if (HAL_TIM_ConfigClockSource(&htim3, &sClockSourceConfig) != HAL_OK)
	{
		Error_Handler();
	}
	sMasterConfig.MasterOutputTrigger = TIM_TRGO_UPDATE;
	sMasterConfig.MasterSlaveMode = TIM_MASTERSLAVEMODE_DISABLE;
	if (HAL_TIMEx_MasterConfigSynchronization(&htim3, &sMasterConfig) != HAL_OK)
	{
		Error_Handler();
	}

}

static void MX_TIM4_Init(void)
{

	TIM_ClockConfigTypeDef sClockSourceConfig = { 0 };
	TIM_MasterConfigTypeDef sMasterConfig = { 0 };

	htim4.Instance = TIM4;
	htim4.Init.Prescaler = 7200;
	htim4.Init.CounterMode = TIM_COUNTERMODE_UP;
	htim4.Init.Period = 10;
	htim4.Init.ClockDivision = TIM_CLOCKDIVISION_DIV1;
	htim4.Init.AutoReloadPreload = TIM_AUTORELOAD_PRELOAD_DISABLE;
	if (HAL_TIM_Base_Init(&htim4) != HAL_OK)
	{
		Error_Handler();
	}
	sClockSourceConfig.ClockSource = TIM_CLOCKSOURCE_INTERNAL;
	if (HAL_TIM_ConfigClockSource(&htim4, &sClockSourceConfig) != HAL_OK)
	{
		Error_Handler();
	}
	sMasterConfig.MasterOutputTrigger = TIM_TRGO_UPDATE;
	sMasterConfig.MasterSlaveMode = TIM_MASTERSLAVEMODE_DISABLE;
	if (HAL_TIMEx_MasterConfigSynchronization(&htim4, &sMasterConfig) != HAL_OK)
	{
		Error_Handler();
	}

}

static void MX_TIM12_Init(void)
{

	TIM_ClockConfigTypeDef sClockSourceConfig = { 0 };

	htim12.Instance = TIM12;
	htim12.Init.Prescaler = 7200;
	htim12.Init.CounterMode = TIM_COUNTERMODE_UP;
	htim12.Init.Period = 1000;
	htim12.Init.ClockDivision = TIM_CLOCKDIVISION_DIV1;
	htim12.Init.AutoReloadPreload = TIM_AUTORELOAD_PRELOAD_DISABLE;
	if (HAL_TIM_Base_Init(&htim12) != HAL_OK)
	{
		Error_Handler();
	}
	sClockSourceConfig.ClockSource = TIM_CLOCKSOURCE_INTERNAL;
	if (HAL_TIM_ConfigClockSource(&htim12, &sClockSourceConfig) != HAL_OK)
	{
		Error_Handler();
	}

}

static void MX_UART4_Init(void)
{

	huart4.Instance = UART4;
	huart4.Init.BaudRate = 9600;
	huart4.Init.WordLength = UART_WORDLENGTH_8B;
	huart4.Init.StopBits = UART_STOPBITS_1;
	huart4.Init.Parity = UART_PARITY_NONE;
	huart4.Init.Mode = UART_MODE_TX_RX;
	huart4.Init.HwFlowCtl = UART_HWCONTROL_NONE;
	huart4.Init.OverSampling = UART_OVERSAMPLING_16;
	if (HAL_UART_Init(&huart4) != HAL_OK)
	{
		Error_Handler();
	}

}

static void MX_USART1_UART_Init(void)
{

	huart1.Instance = USART1;
	huart1.Init.BaudRate = 9600;
	huart1.Init.WordLength = UART_WORDLENGTH_8B;
	huart1.Init.StopBits = UART_STOPBITS_1;
	huart1.Init.Parity = UART_PARITY_NONE;
	huart1.Init.Mode = UART_MODE_TX_RX;
	huart1.Init.HwFlowCtl = UART_HWCONTROL_NONE;
	huart1.Init.OverSampling = UART_OVERSAMPLING_16;
	if (HAL_UART_Init(&huart1) != HAL_OK)
	{
		Error_Handler();
	}

}

static void MX_USART2_UART_Init(void)
{

	huart2.Instance = USART2;
	huart2.Init.BaudRate = 115200;
	huart2.Init.WordLength = UART_WORDLENGTH_8B;
	huart2.Init.StopBits = UART_STOPBITS_1;
	huart2.Init.Parity = UART_PARITY_NONE;
	huart2.Init.Mode = UART_MODE_TX_RX;
	huart2.Init.HwFlowCtl = UART_HWCONTROL_NONE;
	huart2.Init.OverSampling = UART_OVERSAMPLING_16;
	if (HAL_UART_Init(&huart2) != HAL_OK)
	{
		Error_Handler();
	}

}

static void MX_USART3_UART_Init(void)
{

	huart3.Instance = USART3;
	huart3.Init.BaudRate = 9600;
	huart3.Init.WordLength = UART_WORDLENGTH_8B;
	huart3.Init.StopBits = UART_STOPBITS_1;
	huart3.Init.Parity = UART_PARITY_NONE;
	huart3.Init.Mode = UART_MODE_TX_RX;
	huart3.Init.HwFlowCtl = UART_HWCONTROL_NONE;
	huart3.Init.OverSampling = UART_OVERSAMPLING_16;
	if (HAL_UART_Init(&huart3) != HAL_OK)
	{
		Error_Handler();
	}

}

static void MX_USART6_UART_Init(void)
{

	huart6.Instance = USART6;
	huart6.Init.BaudRate = 9600;
	huart6.Init.WordLength = UART_WORDLENGTH_8B;
	huart6.Init.StopBits = UART_STOPBITS_1;
	huart6.Init.Parity = UART_PARITY_NONE;
	huart6.Init.Mode = UART_MODE_TX_RX;
	huart6.Init.HwFlowCtl = UART_HWCONTROL_NONE;
	huart6.Init.OverSampling = UART_OVERSAMPLING_16;
	if (HAL_UART_Init(&huart6) != HAL_OK)
	{
		Error_Handler();
	}

}

static void MX_GPIO_Init(void)
{
	GPIO_InitTypeDef GPIO_InitStruct = { 0 };

	/* GPIO Ports Clock Enable */
	__HAL_RCC_GPIOE_CLK_ENABLE();
	__HAL_RCC_GPIOF_CLK_ENABLE();
	__HAL_RCC_GPIOC_CLK_ENABLE();
	__HAL_RCC_GPIOA_CLK_ENABLE();
	__HAL_RCC_GPIOB_CLK_ENABLE();
	__HAL_RCC_GPIOD_CLK_ENABLE();
	__HAL_RCC_GPIOG_CLK_ENABLE();

	/*Configure GPIO pin Output Level */
	HAL_GPIO_WritePin(GPIOE, EEPROM_WP_Pin | EEPROM_A1_Pin | EEPROM_A0_Pin | Valve1_Pin
		| Valve2_Pin | Valve3_Pin | PWM_Pin | SPI2_PWR_Pin, GPIO_PIN_RESET);

	/*Configure GPIO pin Output Level */
	HAL_GPIO_WritePin(GPIOF, LED_CLK_Pin | LED_DATA_Pin | Buzzer3_Pin | Buzzer4_Pin
		| Alarm_Pin, GPIO_PIN_RESET);

	/*Configure GPIO pin Output Level */
	HAL_GPIO_WritePin(RSPY2_GPIO_Port, RSPY2_Pin, GPIO_PIN_RESET);

	/*Configure GPIO pin Output Level */
	HAL_GPIO_WritePin(GPIOD, Buzzer1_Pin | Buzzer2_Pin | LED0_Pin | LED1_Pin, GPIO_PIN_RESET);

	/*Configure GPIO pin Output Level */
	HAL_GPIO_WritePin(GPIOG, LED2_Pin | LED3_Pin | LED4_Pin | LED5_Pin
		| LED6_Pin | LED7_Pin | DR2_Pin | DR3_Pin
		| DR4_Pin, GPIO_PIN_RESET);

	/*Configure GPIO pin Output Level */
	HAL_GPIO_WritePin(RS485_EN_GPIO_Port, RS485_EN_Pin, GPIO_PIN_RESET);

	/*Configure GPIO pins : EEPROM_WP_Pin EEPROM_A1_Pin EEPROM_A0_Pin Valve1_Pin
							 Valve2_Pin Valve3_Pin PWM_Pin SPI2_PWR_Pin */
	GPIO_InitStruct.Pin = EEPROM_WP_Pin | EEPROM_A1_Pin | EEPROM_A0_Pin | Valve1_Pin
		| Valve2_Pin | Valve3_Pin | PWM_Pin | SPI2_PWR_Pin;
	GPIO_InitStruct.Mode = GPIO_MODE_OUTPUT_PP;
	GPIO_InitStruct.Pull = GPIO_NOPULL;
	GPIO_InitStruct.Speed = GPIO_SPEED_FREQ_LOW;
	HAL_GPIO_Init(GPIOE, &GPIO_InitStruct);

	/*Configure GPIO pins : LED_CLK_Pin LED_DATA_Pin Buzzer3_Pin Buzzer4_Pin
							 Alarm_Pin */
	GPIO_InitStruct.Pin = LED_CLK_Pin | LED_DATA_Pin | Buzzer3_Pin | Buzzer4_Pin
		| Alarm_Pin;
	GPIO_InitStruct.Mode = GPIO_MODE_OUTPUT_PP;
	GPIO_InitStruct.Pull = GPIO_NOPULL;
	GPIO_InitStruct.Speed = GPIO_SPEED_FREQ_LOW;
	HAL_GPIO_Init(GPIOF, &GPIO_InitStruct);

	/*Configure GPIO pin : RSPY1_Pin */
	GPIO_InitStruct.Pin = RSPY1_Pin;
	GPIO_InitStruct.Mode = GPIO_MODE_INPUT;
	GPIO_InitStruct.Pull = GPIO_NOPULL;
	HAL_GPIO_Init(RSPY1_GPIO_Port, &GPIO_InitStruct);

	/*Configure GPIO pin : RSPY2_Pin */
	GPIO_InitStruct.Pin = RSPY2_Pin;
	GPIO_InitStruct.Mode = GPIO_MODE_OUTPUT_PP;
	GPIO_InitStruct.Pull = GPIO_NOPULL;
	GPIO_InitStruct.Speed = GPIO_SPEED_FREQ_LOW;
	HAL_GPIO_Init(RSPY2_GPIO_Port, &GPIO_InitStruct);

	/*Configure GPIO pins : Buzzer1_Pin Buzzer2_Pin LED0_Pin LED1_Pin */
	GPIO_InitStruct.Pin = Buzzer1_Pin | Buzzer2_Pin | LED0_Pin | LED1_Pin;
	GPIO_InitStruct.Mode = GPIO_MODE_OUTPUT_PP;
	GPIO_InitStruct.Pull = GPIO_NOPULL;
	GPIO_InitStruct.Speed = GPIO_SPEED_FREQ_LOW;
	HAL_GPIO_Init(GPIOD, &GPIO_InitStruct);

	/*Configure GPIO pins : LED2_Pin LED3_Pin LED4_Pin LED5_Pin
							 LED6_Pin LED7_Pin DR2_Pin */
	GPIO_InitStruct.Pin = LED2_Pin | LED3_Pin | LED4_Pin | LED5_Pin
		| LED6_Pin | LED7_Pin | DR2_Pin;
	GPIO_InitStruct.Mode = GPIO_MODE_OUTPUT_PP;
	GPIO_InitStruct.Pull = GPIO_NOPULL;
	GPIO_InitStruct.Speed = GPIO_SPEED_FREQ_LOW;
	HAL_GPIO_Init(GPIOG, &GPIO_InitStruct);

	/*Configure GPIO pins : PG8 DR1_Pin */
	GPIO_InitStruct.Pin = GPIO_PIN_8 | DR1_Pin;
	GPIO_InitStruct.Mode = GPIO_MODE_INPUT;
	GPIO_InitStruct.Pull = GPIO_NOPULL;
	HAL_GPIO_Init(GPIOG, &GPIO_InitStruct);

	/*Configure GPIO pin : RS485_EN_Pin */
	GPIO_InitStruct.Pin = RS485_EN_Pin;
	GPIO_InitStruct.Mode = GPIO_MODE_OUTPUT_PP;
	GPIO_InitStruct.Pull = GPIO_NOPULL;
	GPIO_InitStruct.Speed = GPIO_SPEED_FREQ_LOW;
	HAL_GPIO_Init(RS485_EN_GPIO_Port, &GPIO_InitStruct);

	/*Configure GPIO pin : PG9 */
	GPIO_InitStruct.Pin = GPIO_PIN_9;
	GPIO_InitStruct.Mode = GPIO_MODE_IT_FALLING;
	GPIO_InitStruct.Pull = GPIO_NOPULL;
	HAL_GPIO_Init(GPIOG, &GPIO_InitStruct);

	/*Configure GPIO pin : PG10 */
	GPIO_InitStruct.Pin = GPIO_PIN_10;
	GPIO_InitStruct.Mode = GPIO_MODE_IT_RISING;
	GPIO_InitStruct.Pull = GPIO_NOPULL;
	HAL_GPIO_Init(GPIOG, &GPIO_InitStruct);

	/*Configure GPIO pin : DR3_Pin */
	GPIO_InitStruct.Pin = DR3_Pin;
	GPIO_InitStruct.Mode = GPIO_MODE_OUTPUT_PP;
	GPIO_InitStruct.Pull = GPIO_PULLUP;
	GPIO_InitStruct.Speed = GPIO_SPEED_FREQ_VERY_HIGH;
	HAL_GPIO_Init(DR3_GPIO_Port, &GPIO_InitStruct);

	/*Configure GPIO pin : DR4_Pin */
	GPIO_InitStruct.Pin = DR4_Pin;
	GPIO_InitStruct.Mode = GPIO_MODE_OUTPUT_PP;
	GPIO_InitStruct.Pull = GPIO_PULLUP;
	GPIO_InitStruct.Speed = GPIO_SPEED_FREQ_LOW;
	HAL_GPIO_Init(DR4_GPIO_Port, &GPIO_InitStruct);

	/* EXTI interrupt init*/
	HAL_NVIC_SetPriority(EXTI9_5_IRQn, 1, 0);
	HAL_NVIC_EnableIRQ(EXTI9_5_IRQn);

	HAL_NVIC_SetPriority(EXTI15_10_IRQn, 1, 0);
	HAL_NVIC_EnableIRQ(EXTI15_10_IRQn);

}

/* USER CODE BEGIN 4 */

void decode_raspi_packet()
{
	int data_lenth = rspy_receive_buffer[1];

	if (data_lenth > MAX_BUFFER_SIZE)
	{
		return;
	}

	if (rspy_receive_buffer[0] == 0xFE && rspy_receive_buffer[1] >= 1 && rspy_receive_buffer[data_lenth + 6 - 2] == 0xFF && rspy_receive_buffer[data_lenth + 6 - 1] == 0x0A)
	{
		uint16_t recieved_crc = rspy_receive_buffer[data_lenth + 6 - 4] * 256 + rspy_receive_buffer[data_lenth + 6 - 3];

		for (int i = 0; i < data_lenth; i++)
		{
			rspy_receive_buffer_Data[i] = rspy_receive_buffer[i + 2];
		}

		uint16_t calc_crc = crc_calc(rspy_receive_buffer_Data, data_lenth);

		if (calc_crc == recieved_crc)
		{

			if (rspy_receive_buffer[2] == 0x6E) //  Check System Function
			{
				CURRENT_MODE = STOP;

				if (rspy_receive_buffer[3] == 0x01)
				{
					check_devices();
				}

				if (turbo_error || pressure_s1_error || pressure_s2_error || flow_s1_error || flow_s2_error || buzzer_error)
					create_checking_signal_for_raspberry(0x6E, 1, turbo_error, pressure_s1_error, pressure_s2_error, flow_s1_error, flow_s2_error, buzzer_error);
				else
					create_checking_signal_for_raspberry(0x6E, 0, 0, 0, 0, 0, 0, 0);
			}
			else if (rspy_receive_buffer[2] == 0x00) //  SET Standby MODE Function
			{
				cnt_temp = 0;
				CURRENT_MODE = STANDBY;
				status(LED_ACP, 0);  //MODE LED OFF
				status(LED_ACV1, 0);  //MODE LED OFF
				status(LED_ACV2, 0);  //MODE LED OFF
				status(LED_SIMV, 0);  //MODE LED OFF
				status(LED_PSV, 0);  //MODE LED OFF

				status(LED_STANDBY1, 1);  //Mode led STANDBY on
				status(LED_STANDBY2, 1);  //Mode led STANDBY on
				t3_counter = duration_Ins;

				duration_Ins = 500;
				duration_Exp = 500;
				turbo_speed_Ins = 1, turbo_speed_Exp = 1;
				create_response_for_raspberry(0, 0);

			}
			else if (rspy_receive_buffer[2] == 0x04) //  SET STOP MODE Function
			{
				cnt_temp = 0;
				CURRENT_MODE = STOP;
				status(LED_ACP, 0);  //MODE LED OFF
				status(LED_ACV1, 0);  //MODE LED OFF
				status(LED_ACV2, 0);  //MODE LED OFF
				status(LED_SIMV, 0);  //MODE LED OFF
				status(LED_PSV, 0);  //MODE LED OFF

				status(LED_STANDBY1, 1);  //Mode led STANDBY on
				status(LED_STANDBY2, 1);  //Mode led STANDBY on

				t3_counter = duration_Ins;

				duration_Ins = 500;
				duration_Exp = 500;
				turbo_speed_Ins = 1, turbo_speed_Exp = 1;
				create_response_for_raspberry(4, 0);

			}
			else if (rspy_receive_buffer[2] == 0x01) //  SET Date and Time Function
			{

				create_response_for_raspberry(1, 0);
				date_time_decoder();
			}
			else if (rspy_receive_buffer[2] == 0x02) //  SET MODE Function
			{
				is_inspiratory = 0;
				cnt_temp = 0;
				ACV_Vt_Sens = 0;
				ACP_Vt_Sens = 0;
				SIMV_Vt_Sens = 0;
				PSV_Vt_Sens = 0;
				status(LED_ACP, 0);  //MODE LED OFF
				status(LED_ACV1, 0);  //MODE LED OFF
				status(LED_ACV2, 0);  //MODE LED OFF
				status(LED_SIMV, 0);  //MODE LED OFF
				status(LED_PSV, 0);  //MODE LED OFF

				status(LED_STANDBY1, 0);  //Mode led STANDBY OFF
				status(LED_STANDBY2, 0);  //Mode led STANDBY OFF
				send_report = false;
				sigh_occured = false;
				sigh_counter = 0;

				if (rspy_receive_buffer[3] == 0x01)    // PSV MODE
				{

					CURRENT_MODE = PSV;
					status(LED_PSV, 1);     //Mode led PSV on
					t3_counter = duration_Ins;
					PSV_MODE_STEP = 2;
					is_inspiratory = 0;
					PSV_MODE_INS = false;

					psv_mode_decoder();

					create_response_for_raspberry(2, 1);

				}
				else if (rspy_receive_buffer[3] == 0x02)   //ACP MODE
				{
					CURRENT_MODE = ACP;
					status(LED_ACP, 1);     //Mode led ACP on
					t3_counter = duration_Ins;

					acp_mode_decoder();
					create_response_for_raspberry(2, 2);
				}
				else if (rspy_receive_buffer[3] == 0x03)   // ACV MODE
				{
					CURRENT_MODE = ACV;
					status(LED_ACV1, 1);     //Mode led ACV on
					status(LED_ACV2, 1);     //Mode led ACV on
					sigh_counter = 0;
					t3_counter = duration_Ins;
					acv_mode_decoder();
					create_response_for_raspberry(2, 3);
				}
				else if (rspy_receive_buffer[3] == 0x04)  // SIMV MODE
				{

					CURRENT_MODE = SIMV;
					status(LED_SIMV, 1);     //Mode led SIMV on
					t3_counter = duration_Ins;

					simv_mode_decoder();
					create_response_for_raspberry(2, 4);
				}
				else
				{
					// Nothing
				  // Received Data MODE Error!!!!
				}
			}
			else if (rspy_receive_buffer[2] == 0x03) //  SET ALARM Function
			{
				if (rspy_receive_buffer[3] == 0x01)    // PSV ALARM
				{
					psv_alarm_decoder();
					create_response_for_raspberry(3, 1);
				}
				else if (rspy_receive_buffer[3] == 0x02)   //ACP ALARM
				{
					pcv_alarm_decoder();
					create_response_for_raspberry(3, 2);
				}
				else if (rspy_receive_buffer[3] == 0x03)   // ACV ALARM
				{
					acv_alarm_decoder();
					create_response_for_raspberry(3, 3);
				}
				else if (rspy_receive_buffer[3] == 0x04)  // SIMV ALARM
				{
					simv_alarm_decoder();
					create_response_for_raspberry(3, 4);
				}
				else
				{
					// Nothing
				  // Received Data ALARM Error!!!!
				}
			}
			else if (rspy_receive_buffer[2] == 0x06) //  Received STOP ALARM Function
			{
				cnt_temp = 0;
				buzzer(2, 0);
				//				status(LED_ALARM_Hi, 0);  //  ALARM Hi LED OFF
				//				status(LED_ALARM_Low, 0);  //  ALARM Low LED OFF

			}
		}
		else
		{
			// Nothing
		  // Received CRC Error!!!!
		}
	}
}

// BEGIN OF CREATE RESPONSE FOR RASPBERRY

void create_checking_signal_for_raspberry(int function_id, int param_id, bool tubo, bool sp1, bool sp2, bool flow1, bool flow2, bool bz)
{
	uint8_t response[15];

	response[0] = 0xFE;
	response[1] = 0x08;
	if (packet_index > 50000)
		packet_index = 1;
	response[2] = packet_index++;    //packect Index
	response[3] = function_id;
	response[4] = param_id;
	response[5] = tubo;
	response[6] = sp1;
	response[7] = sp2;
	response[8] = flow1;
	response[9] = flow2;
	response[10] = bz;
	{
		uint8_t dt[8];
		dt[0] = response[3];  dt[1] = response[4];
		dt[2] = response[5];  dt[3] = response[6];
		dt[4] = response[7];  dt[5] = response[8];
		dt[6] = response[9];  dt[7] = response[10];

		uint16_t resp_crc = crc_calc(dt, response[1]);
		if (resp_crc <= 256)
		{
			response[11] = 0x00;
			response[12] = resp_crc;
		}
		else
		{
			response[11] = (int)resp_crc / 256;
			response[12] = resp_crc % 256;
		}
	}
	response[13] = 0xFF;
	response[14] = 0x0A;

	send_rspy(response, 15);
}

void create_response_for_raspberry(int function_id, int param_id)
{
	uint8_t response[9];

	response[0] = 0xFE;
	response[1] = 0x02;
	if (packet_index > 50000)
		packet_index = 1;
	response[2] = packet_index++;    //packect Index
	response[3] = function_id;
	response[4] = param_id;
	{
		uint8_t dt[2];
		dt[0] = response[3];  dt[1] = response[4];
		uint16_t resp_crc = crc_calc(dt, response[1]);
		if (resp_crc <= 256)
		{
			response[5] = 0x00;
			response[6] = resp_crc;
		}
		else
		{
			response[5] = (int)resp_crc / 256;
			response[6] = resp_crc % 256;
		}
	}
	response[7] = 0xFF;
	response[8] = 0x0A;

	send_rspy(response, 9);

}

void create_report_for_raspberry(int function_id, int pressure, int flow, int volume, int palsOxi, int o2)
{
	uint8_t response[21];

	//	if(max_flow1<=volume)
	//				max_flow1=volume;
	//
	//	if(max_flow2<=ACV_Vt_Sens_Ins)
	//				max_flow2=ACV_Vt_Sens_Ins;
	//
	//	  	sprintf(buf, "turbo_speed=%d - pressure= %d  flow=%d - volume=%d -max-Vol=%d ,max-SENS=%d \r\n",turbo_speed_Ins, pressure, flow,volume,max_flow1,max_flow2);
	//		   print_debug((uint8_t *)buf, strlen(buf));

	response[0] = 0xFE;
	response[1] = 0x0F;  // len
	response[2] = function_id;
	if (pressure < 0)
	{
		response[3] = 0xFF;
		response[4] = (-1) * pressure;
	}
	else
	{
		response[3] = 0x00;
		response[4] = pressure;
	}
	if (flow < 0)
	{
		response[5] = 0xFF;
		flow = flow * (-1);
		response[6] = (int)flow / 256;
		response[7] = flow % 256;
	}
	else
	{
		response[5] = 0x00;
		response[6] = (int)flow / 256;
		response[7] = flow % 256;
	}

	if (volume < 0)
	{
		response[8] = 0xFF;
		volume = volume * (-1);
		response[9] = (int)volume / 256;
		response[10] = volume % 256;
	}
	else
	{
		response[8] = 0x00;
		response[9] = (int)volume / 256;
		response[10] = volume % 256;
	}
	if (palsOxi < 0)
	{
		response[11] = 0xFF;
		palsOxi = palsOxi * (-1);
		response[12] = (int)palsOxi / 256;
		response[13] = palsOxi % 256;
	}
	else
	{
		response[11] = 0x00;
		response[12] = (int)palsOxi / 256;
		response[13] = palsOxi % 256;
	}
	if (o2 < 0)
	{
		response[14] = 0xFF;
		palsOxi = palsOxi * (-1);
		response[15] = (int)o2 / 256;
		response[16] = o2 % 256;
	}
	else
	{
		response[14] = 0x00;
		response[15] = (int)o2 / 256;
		response[16] = o2 % 256;
	}
	{
		uint8_t dt[15];
		dt[0] = response[2];   dt[1] = response[3];
		dt[2] = response[4];   dt[3] = response[5];
		dt[4] = response[6];   dt[5] = response[7];
		dt[6] = response[8];   dt[7] = response[9];
		dt[8] = response[10];  dt[9] = response[11];
		dt[10] = response[12];  dt[11] = response[13];
		dt[12] = response[14];  dt[11] = response[15];
		dt[14] = response[16];

		uint16_t resp_crc = crc_calc(dt, response[1]);
		if (resp_crc <= 256)
		{
			response[17] = 0x00;
			response[18] = resp_crc;
		}
		else
		{
			response[17] = (int)resp_crc / 256;
			response[18] = resp_crc % 256;
		}
	}
	response[19] = 0xFF;
	response[20] = 0x0A;

	send_rspy(response, 21);

}

// END OF CREATE RESPONSE FOR RASPBERRY

//  BEGIN OF DATE and TIME Packet DECODER

void date_time_decoder()
{
	int YYh = rspy_receive_buffer[3];
	int YYl = rspy_receive_buffer[4];
	int MM = rspy_receive_buffer[5];
	int DD = rspy_receive_buffer[6];
	int hh = rspy_receive_buffer[7];
	int mm = rspy_receive_buffer[8];
	int ss = rspy_receive_buffer[9];

	//int date=YYh*1000000+YYl*10000+MM*100+DD;
}

//  END OF DATE and TIME Packet DECODER

uint16_t crc_calc(const uint8_t* data, uint8_t data_size)
{
	uint16_t crc = 0xFFFF;
	for (int i = 0; i < data_size; i++)
	{
		crc = ((CrcTable[(crc ^ data[i]) & 0xFF]) ^ (crc >> 8)) & 0xFFFF;
	}

	return crc;
}
void send_rspy(uint8_t* data, int size)
{
	//HAL_UART_Transmit_IT(&huart2, data, size);

	send_complete = false;

	for (int i = 0; i < size; i++)
	{
		//HAL_UART_Transmit_IT(&huart2, data+i, 1);
		HAL_UART_Transmit(&huart2, data + i, 1, 100);
		//HAL_Delay(10);
	}

	send_complete = true;
	paceket_decoded = true;
}

void print_debug(uint8_t* data, int size)
{
	HAL_UART_Transmit(&huart1, data, size, 1000);
	//HAL_UART_Transmit(&huart1, (uint8_t *)"\n", 2, 1000);
}

/* USER CODE END 4 */

void Error_Handler(void)
{
}

/************************ (C) COPYRIGHT STMicroelectronics *****END OF FILE****/
